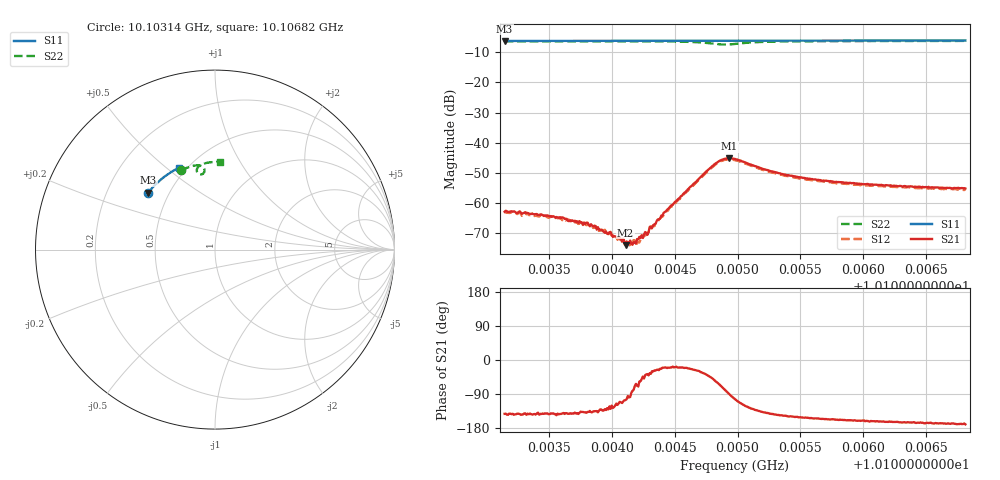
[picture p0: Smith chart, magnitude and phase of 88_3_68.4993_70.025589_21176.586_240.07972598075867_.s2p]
#  HZ  S  RI  R  50.00
! Rohde & Schwarz Vector Network Analyzer
! Rohde-Schwarz,ZNB20-2Port,1311601062101988,3.16
! Created: UTC 3/20/2024, 4:52:33 PM
! freq[Hz]  re:S11  im:S11  re:S21  im:S21  re:S12  im:S12  re:S22  im:S22
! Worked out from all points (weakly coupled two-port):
!   401 points, 10.10314 GHz to 10.10682 GHz, reference 50 ohm
!   highest |S21| = -45.17 dB at 10.10493 GHz (marker M1); lowest = -74.1 dB at 10.10411 GHz (marker M2)
!   lowest |S11| = -6.2 dB at 10.10314 GHz (marker M3), VSWR 2.91, Z = 19.2 + j16 ohm
!   |S11| at or under -10 dB: nowhere
!   |S22| runs from -7.4 to -6.2 dB; largest |S21 - S12| = 0.00055
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1.0103144e10  -0.3723 0.3166  -0.000558 -0.000435  -0.000516 -0.000476  -0.1894 0.4425
1.0103309e10  -0.3661 0.3245  -0.00054 -0.000438  -0.000496 -0.000472  -0.1793 0.4468
1.0103401e10  -0.3627 0.329  -0.000507 -0.000407  -0.000445 -0.000406  -0.1735 0.4494
1.0103529e10  -0.3575 0.3347  -0.000463 -0.000379  -0.000419 -0.000405  -0.1655 0.4529
1.0103759e10  -0.3484 0.3453  -0.000348 -0.000322  -0.000315 -0.000314  -0.1503 0.4585
1.0103851e10  -0.3445 0.3494  -0.000289 -0.000285  -0.000233 -0.000301  -0.1442 0.4606
1.0103887e10  -0.343 0.3512  -0.000292 -0.000263  -0.000228 -0.00027  -0.1416 0.4615
1.0103942e10  -0.3408 0.3536  -0.000202 -0.000244  -0.000216 -0.000284  -0.1377 0.4626
1.0104108e10  -0.3338 0.3608  -5.34e-05 -0.000191  -2.14e-05 -0.000231  -0.1255 0.4659
1.0104135e10  -0.3325 0.362  -3.23e-05 -0.000211  2.7e-06 -0.000221  -0.1234 0.4664
1.0104172e10  -0.331 0.3635  4.44e-05 -0.000217  9.24e-05 -0.000222  -0.1205 0.4671
1.0104209e10  -0.3294 0.365  8.45e-05 -0.000232  0.000116 -0.000185  -0.1176 0.4675
1.0104264e10  -0.327 0.3675  0.000249 -0.000211  0.000225 -0.00018  -0.1132 0.4683
1.0104374e10  -0.3222 0.3721  0.000472 -0.000238  0.000497 -0.000181  -0.1036 0.4694
1.0104796e10  -0.3029 0.3891  0.00271 -0.00298  0.00282 -0.00265  -0.0584 0.4399
1.0104869e10  -0.2995 0.3918  0.00183 -0.0048  0.00216 -0.00446  -0.0673 0.4224
1.0104934e10  -0.2966 0.3942  -3.36e-05 -0.00551  0.000467 -0.00528  -0.0855 0.4192
1.010498e10  -0.2947 0.3958  -0.00122 -0.0052  -0.000759 -0.00505  -0.096 0.4258
1.0105328e10  -0.2781 0.409  -0.00255 -0.00178  -0.00227 -0.00191  -0.0814 0.4708
1.0105595e10  -0.2648 0.4186  -0.00223 -0.00109  -0.00201 -0.00122  -0.0594 0.48
1.010621e10  -0.2334 0.4386  -0.00184 -0.000587  -0.00171 -0.000687  -0.015 0.4877
1.0106815e10  -0.201 0.4557  -0.0017 -0.000307  -0.0016 -0.000461  0.0255 0.4891
